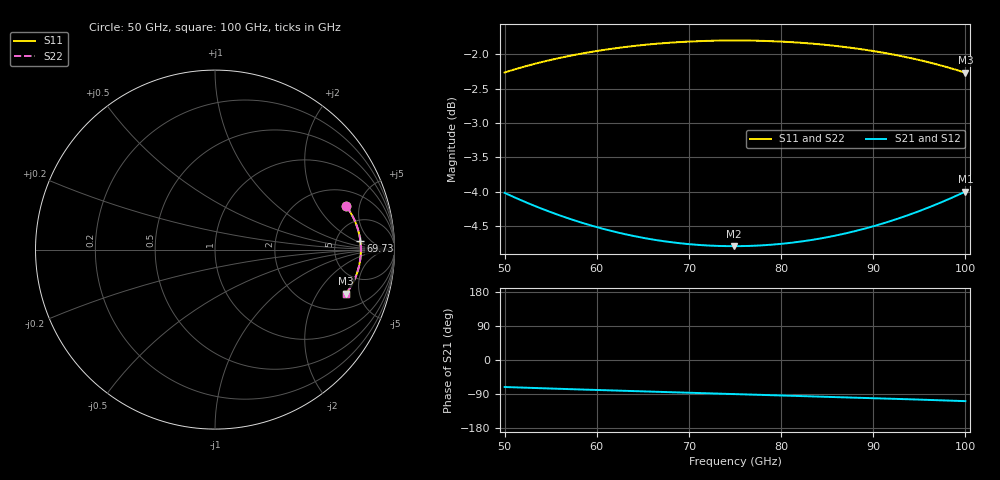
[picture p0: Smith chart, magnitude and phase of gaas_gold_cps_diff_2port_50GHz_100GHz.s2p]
# Hz S RI R 100
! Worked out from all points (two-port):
!   10000 points, 50 GHz to 100 GHz, reference 100 ohm
!   highest |S21| = -4.00 dB at 100 GHz (marker M1); lowest = -4.8 dB at 74.84 GHz (marker M2)
!   |S21| within 3 dB of the highest: start of sweep to end of sweep
!   lowest |S11| = -2.3 dB at 100 GHz (marker M3), VSWR 7.70, Z = 306 - j369 ohm
!   |S11| at or under -10 dB: nowhere
!   |S22| runs from -2.3 to -1.8 dB; largest |S21 - S12| = 3.5e-16
!   S11 on the Smith chart (normalised r, x): 50 GHz: 3.14, +3.71; 69.73 GHz: 8.85, +2.55; 100 GHz: 3.06, -3.69
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5e10  0.732 0.2404  0.2021 -0.5963  0.2021 -0.5963  0.732 0.2404
5.228636e10  0.7472 0.2188  0.1796 -0.5933  0.1796 -0.5933  0.7472 0.2188
5.4198e10  0.7584 0.2005  0.1617 -0.5908  0.1617 -0.5908  0.7584 0.2005
5.624579e10  0.7692 0.1808  0.1435 -0.5882  0.1435 -0.5882  0.7692 0.1808
5.833454e10  0.7788 0.1606  0.1257 -0.5857  0.1257 -0.5857  0.7788 0.1606
6.037517e10  0.7869 0.1408  0.109 -0.5835  0.109 -0.5835  0.7869 0.1408
6.244388e10  0.7939 0.1206  0.0926 -0.5815  0.0926 -0.5815  0.7939 0.1206
6.666685e10  0.8047 0.0793  0.0608 -0.5783  0.0608 -0.5783  0.8047 0.0793
6.973467e10  0.8097 0.0492  0.0385 -0.5767  0.0385 -0.5767  0.8097 0.0492
7.228425e10  0.8121 0.0242  0.0204 -0.576  0.0204 -0.576  0.8121 0.0242
7.483879e10  0.8129 -0.000856  0.00237 -0.5758  0.00237 -0.5758  0.8129 -0.000856
7.500499e10  0.8129 -0.00249  0.0012 -0.5758  0.0012 -0.5758  0.8129 -0.00249
7.918869e10  0.8107 -0.0435  -0.0284 -0.5767  -0.0284 -0.5767  0.8107 -0.0435
8.33338e10  0.8042 -0.0842  -0.0585 -0.579  -0.0585 -0.579  0.8042 -0.0842
8.755617e10  0.7932 -0.1255  -0.0905 -0.5825  -0.0905 -0.5825  0.7932 -0.1255
8.962569e10  0.786 -0.1457  -0.1069 -0.5847  -0.1069 -0.5847  0.786 -0.1457
9.166783e10  0.7777 -0.1656  -0.1238 -0.5871  -0.1238 -0.5871  0.7777 -0.1656
9.369803e10  0.7682 -0.1852  -0.1412 -0.5896  -0.1412 -0.5896  0.7682 -0.1852
9.568692e10  0.7576 -0.2044  -0.1591 -0.5922  -0.1591 -0.5922  0.7576 -0.2044
9.769094e10  0.7456 -0.2235  -0.178 -0.595  -0.178 -0.595  0.7456 -0.2235
9.965399e10  0.7325 -0.242  -0.1974 -0.5977  -0.1974 -0.5977  0.7325 -0.242
1e11  0.73 -0.2453  -0.201 -0.5981  -0.201 -0.5981  0.73 -0.2453
